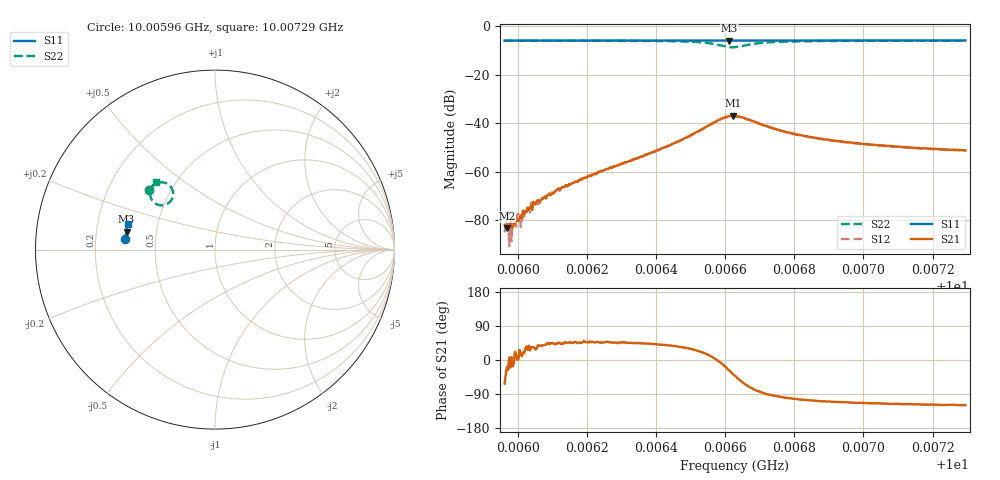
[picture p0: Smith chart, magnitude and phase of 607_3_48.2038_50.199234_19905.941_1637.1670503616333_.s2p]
#  HZ  S  RI  R  50.00
! Rohde & Schwarz Vector Network Analyzer
! Rohde-Schwarz,ZNB20-2Port,1311601062101988,3.16
! Created: UTC 3/20/2024, 12:03:15 PM
! freq[Hz]  re:S11  im:S11  re:S21  im:S21  re:S12  im:S12  re:S22  im:S22
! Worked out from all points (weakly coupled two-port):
!   401 points, 10.00596 GHz to 10.00729 GHz, reference 50 ohm
!   highest |S21| = -37.02 dB at 10.00662 GHz (marker M1); lowest = -83.5 dB at 10.00597 GHz (marker M2)
!   lowest |S11| = -6.0 dB at 10.00661 GHz (marker M3), VSWR 3.02, Z = 16.7 + j4.46 ohm
!   |S11| at or under -10 dB: nowhere
!   |S22| runs from -8.7 to -6.0 dB; largest |S21 - S12| = 0.001
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1.0005962e10  -0.4994 0.0581  3.62e-05 -6.88e-05  4.81e-05 -2.71e-05  -0.3701 0.3337
1.0005969e10  -0.4994 0.0586  6.34e-05 -2.13e-05  3.7e-05 -5.57e-05  -0.3696 0.3341
1.0005989e10  -0.4993 0.0599  8.24e-05 -1.37e-05  0.000101 1.98e-05  -0.3687 0.3353
1.0005999e10  -0.4993 0.0607  9.69e-05 1.07e-06  0.000129 3.11e-05  -0.3679 0.3361
1.0006005e10  -0.4992 0.061  9.66e-05 4.86e-05  0.000117 3.18e-05  -0.3675 0.3365
1.0006012e10  -0.4992 0.0614  0.000108 1.89e-05  0.000111 2.82e-05  -0.3672 0.337
1.0006045e10  -0.4988 0.0636  0.000197 0.000134  0.000172 0.000106  -0.3652 0.3392
1.0006059e10  -0.4989 0.0645  0.000201 0.000162  0.000145 0.000155  -0.3643 0.34
1.0006075e10  -0.4989 0.0655  0.000227 0.000186  0.000229 0.000176  -0.3632 0.3412
1.0006115e10  -0.4985 0.0683  0.000322 0.0003  0.000293 0.000285  -0.3607 0.344
1.0006185e10  -0.4979 0.0729  0.00048 0.000493  0.000445 0.000517  -0.3555 0.3491
1.0006409e10  -0.4959 0.0873  0.00215 0.00183  0.00198 0.00194  -0.3275 0.3687
1.0006545e10  -0.494 0.0963  0.00802 0.00233  0.00771 0.00268  -0.265 0.366
1.0006585e10  -0.4931 0.0986  0.0119 -0.00118  0.0116 -0.000509  -0.2351 0.3264
1.0006612e10  -0.4926 0.0998  0.0123 -0.00633  0.0123 -0.00553  -0.2414 0.2786
1.0006622e10  -0.4925 0.1002  0.0114 -0.00835  0.0114 -0.00753  -0.254 0.2629
1.0006628e10  -0.4927 0.1005  0.0104 -0.00929  0.0108 -0.00859  -0.2645 0.2551
1.0006702e10  -0.4927 0.1048  0.00101 -0.00953  0.00133 -0.00936  -0.3515 0.2769
1.0006772e10  -0.4921 0.1097  -0.0011 -0.00657  -0.0007 -0.00654  -0.3611 0.3127
1.0006852e10  -0.4913 0.1148  -0.00148 -0.00486  -0.00122 -0.00485  -0.3573 0.3339
1.0007075e10  -0.4882 0.1292  -0.00147 -0.00304  -0.00128 -0.00306  -0.3425 0.3611
1.0007295e10  -0.4849 0.1429  -0.00133 -0.00238  -0.00117 -0.00242  -0.3297 0.3764
